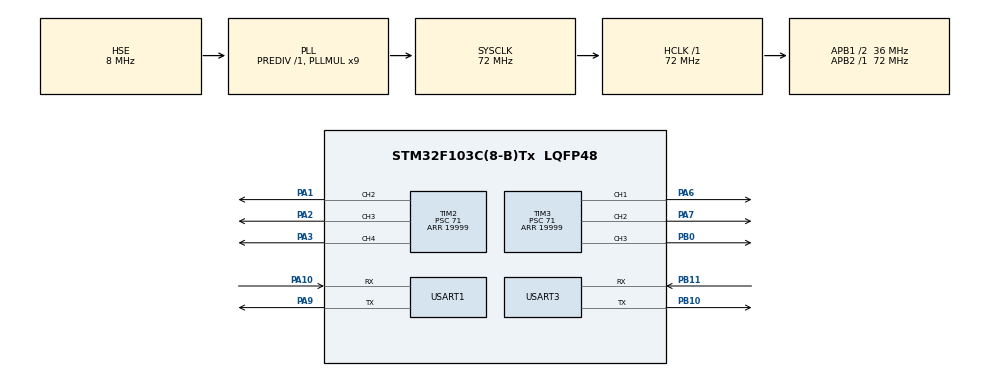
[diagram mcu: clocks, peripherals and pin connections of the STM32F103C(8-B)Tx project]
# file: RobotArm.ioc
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Mcu.Family=STM32F1
Mcu.Name=STM32F103C(8-B)Tx
Mcu.Package=LQFP48
NVIC.PriorityGroup=NVIC_PRIORITYGROUP_4
PA1.Signal=S_TIM2_CH2
PA10.Mode=Asynchronous
PA10.Signal=USART1_RX
PA13.Mode=Serial_Wire
PA13.Signal=SYS_JTMS-SWDIO
PA14.Mode=Serial_Wire
PA14.Signal=SYS_JTCK-SWCLK
PA2.Signal=S_TIM2_CH3
PA3.Signal=S_TIM2_CH4
PA6.Signal=S_TIM3_CH1
PA7.Signal=S_TIM3_CH2
PA9.Mode=Asynchronous
PA9.Signal=USART1_TX
PB0.Signal=S_TIM3_CH3
PB10.Mode=Asynchronous
PB10.Signal=USART3_TX
PB11.Mode=Asynchronous
PB11.Signal=USART3_RX
PD0-OSC_IN.Mode=HSE-External-Oscillator
PD0-OSC_IN.Signal=RCC_OSC_IN
PD1-OSC_OUT.Mode=HSE-External-Oscillator
PD1-OSC_OUT.Signal=RCC_OSC_OUT
ProjectManager.HeapSize=0x200
ProjectManager.StackSize=0x400
ProjectManager.TargetToolchain=MDK-ARM V5.32
RCC.AHBFreq_Value=72000000
RCC.APB1CLKDivider=RCC_HCLK_DIV2
RCC.APB1Freq_Value=36000000
RCC.APB1TimFreq_Value=72000000
RCC.APB2Freq_Value=72000000
RCC.APB2TimFreq_Value=72000000
RCC.HCLKFreq_Value=72000000
RCC.PLLMUL=RCC_PLL_MUL9
RCC.PLLSourceVirtual=RCC_PLLSOURCE_HSE
RCC.SYSCLKFreq_VALUE=72000000
RCC.SYSCLKSource=RCC_SYSCLKSOURCE_PLLCLK
RCC.USBFreq_Value=48000000
RCC.USBPrescaler=RCC_USBCLKSOURCE_PLL_DIV1_5
SH.S_TIM2_CH2.0=TIM2_CH2,PWM Generation2 CH2
SH.S_TIM2_CH3.0=TIM2_CH3,PWM Generation3 CH3
SH.S_TIM2_CH4.0=TIM2_CH4,PWM Generation4 CH4
SH.S_TIM3_CH1.0=TIM3_CH1,PWM Generation1 CH1
SH.S_TIM3_CH2.0=TIM3_CH2,PWM Generation2 CH2
SH.S_TIM3_CH3.0=TIM3_CH3,PWM Generation3 CH3
TIM2.Channel-PWM\ Generation2\ CH2=TIM_CHANNEL_2
TIM2.Channel-PWM\ Generation3\ CH3=TIM_CHANNEL_3
TIM2.Channel-PWM\ Generation4\ CH4=TIM_CHANNEL_4
TIM2.Period=19999
TIM2.Prescaler=71
TIM2.Pulse-PWM\ Generation2\ CH2=1500
TIM2.Pulse-PWM\ Generation3\ CH3=1500
TIM2.Pulse-PWM\ Generation4\ CH4=1500
TIM3.Channel-PWM\ Generation1\ CH1=TIM_CHANNEL_1
TIM3.Channel-PWM\ Generation2\ CH2=TIM_CHANNEL_2
TIM3.Channel-PWM\ Generation3\ CH3=TIM_CHANNEL_3
TIM3.Period=19999
TIM3.Prescaler=71
TIM3.Pulse-PWM\ Generation1\ CH1=1500
TIM3.Pulse-PWM\ Generation2\ CH2=1500
USART1.VirtualMode=VM_ASYNC
USART3.VirtualMode=VM_ASYNC
VP_TIM2_VS_ClockSourceINT.Mode=Internal
VP_TIM3_VS_ClockSourceINT.Mode=Internal
board=custom

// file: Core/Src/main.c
/* USER CODE BEGIN Header */
/**
  ******************************************************************************
  * @file           : main.c
  * @brief          : Main program body
  ******************************************************************************
  * @attention
  *
  * Copyright (c) 2026 STMicroelectronics.
  * All rights reserved.
  *
  * This software is licensed under terms that can be found in the LICENSE file
  * in the root directory of this software component.
  * If no LICENSE file comes with this software, it is provided AS-IS.
  *
  ******************************************************************************
  */
/* USER CODE END Header */
#include "main.h"

/* USER CODE BEGIN Includes */
#include <stdio.h>
#include <math.h>
#include <string.h>
/* USER CODE END Includes */

/* USER CODE BEGIN PD */
#define Max_Servo_Speed 20.0f
#define DEG_TO_RAD 0.01745329252f
#define RAD_TO_DEG 57.29577951f
#define CONTROL_DT 0.02f
#define LINK1 0.1f
#define LINK2 0.1f
#define LINK3 0.09f
#define LAMDA 0.02f
#define MAX_X_SPEED 0.015f
#define MAX_Y_SPEED 0.015f
#define BT_TIMEOUT_MS 200U
#define BT_PERIOD_MS 20U
#define BT_BUFFER_SIZE 64U
/* USER CODE END PD */

TIM_HandleTypeDef htim2;
TIM_HandleTypeDef htim3;

UART_HandleTypeDef huart1;
UART_HandleTypeDef huart3;

/* USER CODE BEGIN PV */
typedef struct
{
    int8_t joy_x;
    int8_t joy_y;
    int8_t joy_turn;

    uint8_t enable;
    uint32_t last_rx_ms;
} BluetoothCommand;

static BluetoothCommand bluetoothCMD = {0};

/* USER CODE END PV */

void SystemClock_Config(void);
static void MX_GPIO_Init(void);
static void MX_TIM2_Init(void);
static void MX_TIM3_Init(void);
static void MX_USART1_UART_Init(void);
static void MX_USART3_UART_Init(void);

/* USER CODE BEGIN 0 */
volatile uint32_t bt_rx_count = 0;
volatile uint32_t bt_valid_count = 0;
volatile uint32_t bt_last_byte_ms = 0;
volatile uint32_t bt_last_valid_ms = 0;
volatile uint8_t bt_last_byte = 0;

uint8_t rx_buffer[128];
uint32_t rx_len;
uint8_t uart_rx_byte;
volatile uint8_t rx_ready = 0;
static uint8_t bt_uart_byte;
static uint8_t bt_rx_buffer[BT_BUFFER_SIZE];
static uint32_t bt_rx_len = 0;
static uint8_t bt_discard_line = 0;
static volatile uint8_t bt_rx_ready = 0;
char bt_last_line[BT_BUFFER_SIZE] = {0};
static uint8_t bluetooth_armed = 0;

float servo_angle[6] = {90.0f, 90.0f, 90.0f, 90.0f, 90.0f, 90.0f};
float servoX_angle[3] = {90.0f, 90.0f, 90.0f};
static const float direction[3] = {1.0f, 1.0f, 1.0f};
static const float angle_offset[3] = {0.0f, 0.0f, 0.0f};

static const float angle_min[3] = {45.0f, 45.0f, 45.0f};

static const float angle_max[3] = {135.0f, 135.0f, 135.0f};

static float clampf(float value, float min, float max)
{
    if (value < min) return min;
    if (value > max) return max;
    return value;
}

void UART_Start_Receive(void)
{
    HAL_UART_Receive_IT(&huart1, &uart_rx_byte, 1);
}

void Bluetooth_Start_Receive(void)
{
    HAL_UART_Receive_IT(&huart3, &bt_uart_byte, 1);
}

void Servo_ParseCommand(char *data)
{
    float a[6];

    if (sscanf(data, "%f,%f,%f,%f,%f,%f", &a[0], &a[1], &a[2], &a[3], &a[4], &a[5]) == 6)
    {
        for (int i = 0; i < 6; i++)
        {
            servo_angle[i] = a[i];
        }
    }
}

void Caculate(float vx, float vy){
		float q[3];
		for(int i = 0; i < 3; i++){
				q[i] = angle_offset[i] + direction[i] * (servoX_angle[i] - 90.0f) * DEG_TO_RAD;
		}
		float t1 = q[0];
		float t2 = q[0] + q[1];
		float t3 = q[0] + q[1] + q[2];

		float sinx1 = sinf(t1);
		float sinx2 = sinf(t2);
		float sinx3 = sinf(t3);

		float cosy1 = cosf(t1);
		float cosy2 = cosf(t2);
		float cosy3 = cosf(t3);

		float JacobianX[3] = {
				-LINK1 * sinx1 - LINK2 * sinx2 - LINK3 * sinx3,
				-LINK2 * sinx2 - LINK3 * sinx3,
				-LINK3 * sinx3
		};
		float JacobianY[3] = {
				LINK1 * cosy1 + LINK2 * cosy2 + LINK3 * cosy3,
				LINK2 * cosy2 + LINK3 * cosy3,
				LINK3 * cosy3
		};

		float dq[3] = {0};

		float A = LAMDA * LAMDA;
		float B = 0.0f;
		float C = LAMDA * LAMDA;

		for(int i = 0; i < 3; i++){
				A += JacobianX[i] * JacobianX[i];
				B += JacobianX[i] * JacobianY[i];
				C += JacobianY[i] * JacobianY[i];
		}
		if(vx != 0.0f && vy == 0.0f){
				for(int i = 0; i < 3; i++){
						dq[i] = JacobianX[i] * vx/A;
				}
		}
		else if (vx == 0.0f && vy != 0.0f)
    {
        for (int i = 0; i < 3; i++)
            dq[i] = JacobianY[i] * vy / C;
    }
		else if (vx != 0.0f && vy != 0.0f){
				float det = A * C - B * B;
				if (det > 1e-8f)
        {
            float ux = (C*vx - B*vy) / det;
            float uy = (A*vy - B*vx) / det;

            for (int i = 0; i < 3; i++) dq[i] = JacobianX[i]*ux + JacobianY[i]*uy;
        }
		}
		for (int i = 0; i < 3; i++)
    {
        float speed_deg = dq[i] * RAD_TO_DEG * direction[i];

        speed_deg = clampf(speed_deg, -Max_Servo_Speed, Max_Servo_Speed);

        servoX_angle[i] += speed_deg * CONTROL_DT;

        servoX_angle[i] = clampf(servoX_angle[i], angle_min[i], angle_max[i]);
    }
}

void Servo_SetAngle(TIM_HandleTypeDef *htim, uint32_t channel, float angle){
    if (angle < 0) angle = 0;

    if (angle > 180) angle = 180;

    uint32_t pulse = 1000 + (uint32_t)((angle / 180.0f) * 1000.0f);

    __HAL_TIM_SET_COMPARE(htim, channel, pulse);
}

void Bluetooth_Update20ms(void)
{
    uint32_t now = HAL_GetTick();

    // Mất lệnh quá 200ms thì giữ nguyên góc
    if ((uint32_t)(now - bluetoothCMD.last_rx_ms) > 200)
        return;

    // Người dùng không giữ nút cho phép
    if (!bluetoothCMD.enable)
        return;

    float x = bluetoothCMD.joy_x / 100.0f;
    float y = bluetoothCMD.joy_y / 100.0f;

    // Dead-zone
    if (fabsf(x) < 0.08f) x = 0.0f;
    if (fabsf(y) < 0.08f) y = 0.0f;

    // Chuyển joystick thành m/s
    float vx = x * MAX_X_SPEED;
    float vy = y * MAX_Y_SPEED;

    if (vx == 0.0f && vy == 0.0f)
        return;

    Caculate(vx, vy);

    Servo_SetAngle(&htim2, TIM_CHANNEL_3, servoX_angle[0]);
		Servo_SetAngle(&htim2, TIM_CHANNEL_4, servoX_angle[1]);
		Servo_SetAngle(&htim3, TIM_CHANNEL_2, servoX_angle[2]);
}

void HAL_UART_RxCpltCallback(UART_HandleTypeDef *huart)
{
    if (huart->Instance == USART1)
    {
        if (!rx_ready)
        {
            if (uart_rx_byte == '\n')
            {
                rx_buffer[rx_len] = '\0';
                rx_ready = 1;
            }
            else if (rx_len < sizeof(rx_buffer) - 1)
            {
                rx_buffer[rx_len++] = uart_rx_byte;
            }
            else
            {
                rx_len = 0;
            }
        }

        HAL_UART_Receive_IT(&huart1, &uart_rx_byte, 1);
    }
		else if (huart->Instance == USART3){
				bt_last_byte = bt_uart_byte;
        bt_rx_count++;
        bt_last_byte_ms = HAL_GetTick();

        if (bt_uart_byte == '\n')
        {
            if (!bt_rx_ready && !bt_discard_line)
            {
                bt_rx_buffer[bt_rx_len] = '\0';
                bt_rx_ready = 1;
            }
            bt_discard_line = 0;
        }
        else if (bt_uart_byte != '\r' && !bt_rx_ready && !bt_discard_line)
        {
            if (bt_rx_len < BT_BUFFER_SIZE - 1U)
                bt_rx_buffer[bt_rx_len++] = bt_uart_byte;
            else
            {
                bt_discard_line = 1;
                bt_rx_len = 0;
            }
        }

        HAL_UART_Receive_IT(&huart3, &bt_uart_byte, 1);
		}
}

void Bluetooth_ParseCommand(char *data){
		int x, y, turn, enable, used = 0;
    if (sscanf(data, "J,%d,%d,%d,%d%n", &x, &y, &turn, &enable, &used) != 4 ||
        used == 0 || data[used] != '\0' ||
        x < -100 || x > 100 || y < -100 || y > 100 ||
        turn < -100 || turn > 100 || (enable != 0 && enable != 1))
        return;

    // Moi lan vao manual phai tha joystick va nut enable truoc.
    if (enable == 0 && x >= -8 && x <= 8 &&
        y >= -8 && y <= 8 && turn >= -8 && turn <= 8)
        bluetooth_armed = 1;

    bluetoothCMD.joy_x = (int8_t)x;
    bluetoothCMD.joy_y = (int8_t)y;
    bluetoothCMD.joy_turn = (int8_t)turn;
    bluetoothCMD.enable = (uint8_t)(enable && bluetooth_armed);
    bluetoothCMD.last_rx_ms = HAL_GetTick();
    bt_valid_count++;
    bt_last_valid_ms = bluetoothCMD.last_rx_ms;
}

/* USER CODE END 0 */

int main(void)
{

  /* MCU Configuration--------------------------------------------------------*/

  /* Reset of all peripherals, Initializes the Flash interface and the Systick. */
  HAL_Init();

  /* Configure the system clock */
  SystemClock_Config();

  /* Initialize all configured peripherals */
  MX_GPIO_Init();
  MX_TIM2_Init();
  MX_TIM3_Init();
  MX_USART1_UART_Init();
  MX_USART3_UART_Init();
  /* USER CODE BEGIN 2 */
	HAL_TIM_PWM_Start(&htim2, TIM_CHANNEL_2);
	HAL_TIM_PWM_Start(&htim2, TIM_CHANNEL_3);
	HAL_TIM_PWM_Start(&htim2, TIM_CHANNEL_4);

	HAL_TIM_PWM_Start(&htim3, TIM_CHANNEL_1);
	HAL_TIM_PWM_Start(&htim3, TIM_CHANNEL_2);
	HAL_TIM_PWM_Start(&htim3, TIM_CHANNEL_3);
	UART_Start_Receive();
	Bluetooth_Start_Receive();
  /* USER CODE END 2 */

  /* Infinite loop */
  /* USER CODE BEGIN WHILE */
	uint32_t last_bt_update_ms = HAL_GetTick();
  char ros2_line[sizeof(rx_buffer)];
  char bt_line[BT_BUFFER_SIZE];
  while (1)
  {
    /* USER CODE END WHILE */

    /* USER CODE BEGIN 3 */
		if(rx_ready){
			rx_ready = 0;
			rx_len = 0;
			Servo_ParseCommand((char *)rx_buffer);

      Servo_SetAngle(&htim2, TIM_CHANNEL_2, servo_angle[0]);
      Servo_SetAngle(&htim2, TIM_CHANNEL_3, servo_angle[1]);
      Servo_SetAngle(&htim2, TIM_CHANNEL_4, servo_angle[2]);

      Servo_SetAngle(&htim3, TIM_CHANNEL_1, servo_angle[3]);
      Servo_SetAngle(&htim3, TIM_CHANNEL_2, servo_angle[4]);
			Servo_SetAngle(&htim3, TIM_CHANNEL_3, servo_angle[5]);

        // Cho ph�p nh?n g�i ti?p theo
      __disable_irq();
      __enable_irq();

		}
		if (bt_rx_ready)
		{
			__disable_irq();
			memcpy(bt_line, bt_rx_buffer, bt_rx_len + 1U);
			bt_rx_ready = 0;
			bt_rx_len = 0;
			__enable_irq();

			strcpy(bt_last_line, bt_line); // Debug: goi HC-06 gan nhat
			Bluetooth_ParseCommand(bt_line);
		}

		uint32_t now = HAL_GetTick();
		if ((uint32_t)(now - last_bt_update_ms) >= BT_PERIOD_MS)
		{
			last_bt_update_ms = now;
			Bluetooth_Update20ms();
		}
  }
  /* USER CODE END 3 */
}

void SystemClock_Config(void)
{
  RCC_OscInitTypeDef RCC_OscInitStruct = {0};
  RCC_ClkInitTypeDef RCC_ClkInitStruct = {0};

  /** Initializes the RCC Oscillators according to the specified parameters
  * in the RCC_OscInitTypeDef structure.
  */
  RCC_OscInitStruct.OscillatorType = RCC_OSCILLATORTYPE_HSE;
  RCC_OscInitStruct.HSEState = RCC_HSE_ON;
  RCC_OscInitStruct.HSEPredivValue = RCC_HSE_PREDIV_DIV1;
  RCC_OscInitStruct.HSIState = RCC_HSI_ON;
  RCC_OscInitStruct.PLL.PLLState = RCC_PLL_ON;
  RCC_OscInitStruct.PLL.PLLSource = RCC_PLLSOURCE_HSE;
  RCC_OscInitStruct.PLL.PLLMUL = RCC_PLL_MUL9;
  if (HAL_RCC_OscConfig(&RCC_OscInitStruct) != HAL_OK)
  {
    Error_Handler();
  }

  /** Initializes the CPU, AHB and APB buses clocks
  */
  RCC_ClkInitStruct.ClockType = RCC_CLOCKTYPE_HCLK|RCC_CLOCKTYPE_SYSCLK
                              |RCC_CLOCKTYPE_PCLK1|RCC_CLOCKTYPE_PCLK2;
  RCC_ClkInitStruct.SYSCLKSource = RCC_SYSCLKSOURCE_PLLCLK;
  RCC_ClkInitStruct.AHBCLKDivider = RCC_SYSCLK_DIV1;
  RCC_ClkInitStruct.APB1CLKDivider = RCC_HCLK_DIV2;
  RCC_ClkInitStruct.APB2CLKDivider = RCC_HCLK_DIV1;

  if (HAL_RCC_ClockConfig(&RCC_ClkInitStruct, FLASH_LATENCY_2) != HAL_OK)
  {
    Error_Handler();
  }
}

static void MX_TIM2_Init(void)
{

  TIM_ClockConfigTypeDef sClockSourceConfig = {0};
  TIM_MasterConfigTypeDef sMasterConfig = {0};
  TIM_OC_InitTypeDef sConfigOC = {0};

  htim2.Instance = TIM2;
  htim2.Init.Prescaler = 71;
  htim2.Init.CounterMode = TIM_COUNTERMODE_UP;
  htim2.Init.Period = 19999;
  htim2.Init.ClockDivision = TIM_CLOCKDIVISION_DIV1;
  htim2.Init.AutoReloadPreload = TIM_AUTORELOAD_PRELOAD_DISABLE;
  if (HAL_TIM_Base_Init(&htim2) != HAL_OK)
  {
    Error_Handler();
  }
  sClockSourceConfig.ClockSource = TIM_CLOCKSOURCE_INTERNAL;
  if (HAL_TIM_ConfigClockSource(&htim2, &sClockSourceConfig) != HAL_OK)
  {
    Error_Handler();
  }
  if (HAL_TIM_PWM_Init(&htim2) != HAL_OK)
  {
    Error_Handler();
  }
  sMasterConfig.MasterOutputTrigger = TIM_TRGO_RESET;
  sMasterConfig.MasterSlaveMode = TIM_MASTERSLAVEMODE_DISABLE;
  if (HAL_TIMEx_MasterConfigSynchronization(&htim2, &sMasterConfig) != HAL_OK)
  {
    Error_Handler();
  }
  sConfigOC.OCMode = TIM_OCMODE_PWM1;
  sConfigOC.Pulse = 1500;
  sConfigOC.OCPolarity = TIM_OCPOLARITY_HIGH;
  sConfigOC.OCFastMode = TIM_OCFAST_DISABLE;
  if (HAL_TIM_PWM_ConfigChannel(&htim2, &sConfigOC, TIM_CHANNEL_2) != HAL_OK)
  {
    Error_Handler();
  }
  if (HAL_TIM_PWM_ConfigChannel(&htim2, &sConfigOC, TIM_CHANNEL_3) != HAL_OK)
  {
    Error_Handler();
  }
  if (HAL_TIM_PWM_ConfigChannel(&htim2, &sConfigOC, TIM_CHANNEL_4) != HAL_OK)
  {
    Error_Handler();
  }
  HAL_TIM_MspPostInit(&htim2);

}

static void MX_TIM3_Init(void)
{

  TIM_ClockConfigTypeDef sClockSourceConfig = {0};
  TIM_MasterConfigTypeDef sMasterConfig = {0};
  TIM_OC_InitTypeDef sConfigOC = {0};

  htim3.Instance = TIM3;
  htim3.Init.Prescaler = 71;
  htim3.Init.CounterMode = TIM_COUNTERMODE_UP;
  htim3.Init.Period = 19999;
  htim3.Init.ClockDivision = TIM_CLOCKDIVISION_DIV1;
  htim3.Init.AutoReloadPreload = TIM_AUTORELOAD_PRELOAD_DISABLE;
  if (HAL_TIM_Base_Init(&htim3) != HAL_OK)
  {
    Error_Handler();
  }
  sClockSourceConfig.ClockSource = TIM_CLOCKSOURCE_INTERNAL;
  if (HAL_TIM_ConfigClockSource(&htim3, &sClockSourceConfig) != HAL_OK)
  {
    Error_Handler();
  }
  if (HAL_TIM_PWM_Init(&htim3) != HAL_OK)
  {
    Error_Handler();
  }
  sMasterConfig.MasterOutputTrigger = TIM_TRGO_RESET;
  sMasterConfig.MasterSlaveMode = TIM_MASTERSLAVEMODE_DISABLE;
  if (HAL_TIMEx_MasterConfigSynchronization(&htim3, &sMasterConfig) != HAL_OK)
  {
    Error_Handler();
  }
  sConfigOC.OCMode = TIM_OCMODE_PWM1;
  sConfigOC.Pulse = 1500;
  sConfigOC.OCPolarity = TIM_OCPOLARITY_HIGH;
  sConfigOC.OCFastMode = TIM_OCFAST_DISABLE;
  if (HAL_TIM_PWM_ConfigChannel(&htim3, &sConfigOC, TIM_CHANNEL_1) != HAL_OK)
  {
    Error_Handler();
  }
  if (HAL_TIM_PWM_ConfigChannel(&htim3, &sConfigOC, TIM_CHANNEL_2) != HAL_OK)
  {
    Error_Handler();
  }
  sConfigOC.Pulse = 0;
  if (HAL_TIM_PWM_ConfigChannel(&htim3, &sConfigOC, TIM_CHANNEL_3) != HAL_OK)
  {
    Error_Handler();
  }
  HAL_TIM_MspPostInit(&htim3);

}

static void MX_USART1_UART_Init(void)
{

  huart1.Instance = USART1;
  huart1.Init.BaudRate = 115200;
  huart1.Init.WordLength = UART_WORDLENGTH_8B;
  huart1.Init.StopBits = UART_STOPBITS_1;
  huart1.Init.Parity = UART_PARITY_NONE;
  huart1.Init.Mode = UART_MODE_TX_RX;
  huart1.Init.HwFlowCtl = UART_HWCONTROL_NONE;
  huart1.Init.OverSampling = UART_OVERSAMPLING_16;
  if (HAL_UART_Init(&huart1) != HAL_OK)
  {
    Error_Handler();
  }

}

static void MX_USART3_UART_Init(void)
{

  huart3.Instance = USART3;
  huart3.Init.BaudRate = 9600;
  huart3.Init.WordLength = UART_WORDLENGTH_8B;
  huart3.Init.StopBits = UART_STOPBITS_1;
  huart3.Init.Parity = UART_PARITY_NONE;
  huart3.Init.Mode = UART_MODE_TX_RX;
  huart3.Init.HwFlowCtl = UART_HWCONTROL_NONE;
  huart3.Init.OverSampling = UART_OVERSAMPLING_16;
  if (HAL_UART_Init(&huart3) != HAL_OK)
  {
    Error_Handler();
  }

}

static void MX_GPIO_Init(void)
{

  /* GPIO Ports Clock Enable */
  __HAL_RCC_GPIOD_CLK_ENABLE();
  __HAL_RCC_GPIOA_CLK_ENABLE();
  __HAL_RCC_GPIOB_CLK_ENABLE();

}

void Error_Handler(void)
{
  __disable_irq();
  while (1)
  {
  }
}
